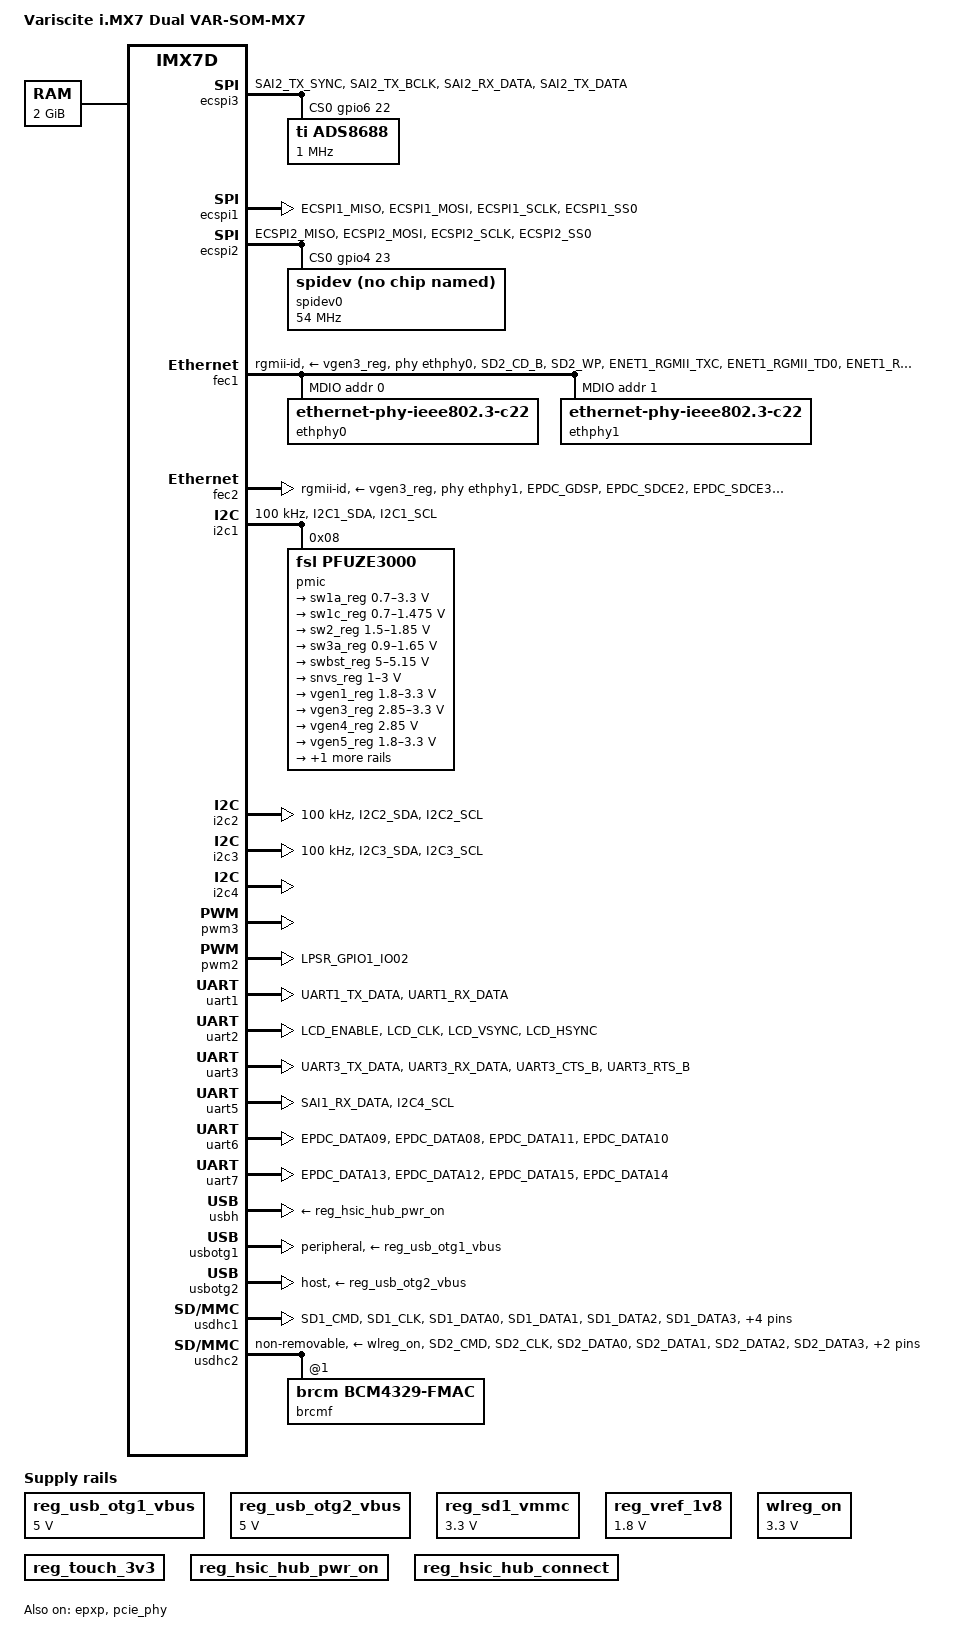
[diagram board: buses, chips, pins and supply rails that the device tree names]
/* MODIFIED BY SNORRI FOR THE KVIKNA AMPLIFIER ! ! ! !
 * Copyright (C) 2015 Freescale Semiconductor, Inc.
 * Copyright (C) 2016-2017 Variscite Ltd.
 *
 * This program is free software; you can redistribute it and/or modify
 * it under the terms of the GNU General Public License version 2 as
 * published by the Free Software Foundation.
 */
#include <dt-bindings/input/input.h>
#include <dt-bindings/leds/leds-pca9532.h>
#include "imx7d.dtsi"

/ {
	model = "Variscite i.MX7 Dual VAR-SOM-MX7";
	compatible = "variscite,imx7d-var-som", "fsl,imx7d";

	cpus {
		cpu0: cpu@0 {
			operating-points = <
				/* KHz	uV */
				996000	1075000
				792000	975000
			>;
		};
	};

	memory {
		reg = <0x80000000 0x80000000>;
	};

	pxp_v4l2_out {
		compatible = "fsl,imx7d-pxp-v4l2", "fsl,imx6sx-pxp-v4l2", "fsl,imx6sl-pxp-v4l2";
		status = "okay";
	};

	// Control Module LEDs
	// i2c_gpio: i2c-gpio {
	// 	compatible = "i2c-gpio";
	// 	pinctrl-names = "default";
	// 	pinctrl-0 = <&pinctrl_i2c_gpio>;
	// 	gpios = <
	// 		   &gpio1 2 GPIO_ACTIVE_HIGH /* SDA */
	// 		   &gpio6 17 GPIO_ACTIVE_HIGH /* SCL */
	// 	>;
	// 	clock-frequency = <100000>;
	// 	status = "okay";

	// 	leds: pca9530@60 { /* NOTE - the pca9532 device driver has been hard coded to turn on the power led when the probe function is called */
	// 		compatible = "nxp,pca9531";
	// 		reg = <0x60>;
	// 		green-power {
	// 			label = "pca:green:power";
	// 			type = <PCA9532_TYPE_LED>;
	// 		};
	// 	};
	// };

	regulators {
		compatible = "simple-bus";
		#address-cells = <1>;
		#size-cells = <0>;

		reg_usb_otg1_vbus: regulator@0 {
			compatible = "regulator-fixed";
			reg = <0>;
			regulator-name = "usb_otg1_vbus";
			regulator-min-microvolt = <5000000>;
			regulator-max-microvolt = <5000000>;
			//gpio = <&gpio1 5 GPIO_ACTIVE_HIGH>;
			//enable-active-high;
		};

		reg_usb_otg2_vbus: regulator@1 {
			compatible = "regulator-fixed";
			reg = <1>;
			regulator-name = "usb_otg2_vbus";
			regulator-min-microvolt = <5000000>;
			regulator-max-microvolt = <5000000>;
			//gpio = <&gpio1 7 GPIO_ACTIVE_HIGH>;
			//enable-active-high;
		};

		reg_sd1_vmmc: regulator@3 {
			compatible = "regulator-fixed";
			regulator-name = "VDD_SD1";
			regulator-min-microvolt = <3300000>;
			regulator-max-microvolt = <3300000>;
			//gpio = <&gpio5 2 GPIO_ACTIVE_HIGH>;
			//startup-delay-us = <200000>;
			enable-active-high;
		};

		reg_vref_1v8: regulator@5 {
			compatible = "regulator-fixed";
			reg = <5>;
			regulator-name = "vref-1v8";
			regulator-min-microvolt = <1800000>;
			regulator-max-microvolt = <1800000>;
		};

		wlreg_on: fixedregulator@100 {
			compatible = "regulator-fixed";
			regulator-min-microvolt = <3300000>;
			regulator-max-microvolt = <3300000>;
			regulator-name = "wlreg_on";
		};

		reg_touch_3v3: reg_touch_3v3 {
			compatible = "regulator-fixed";
			regulator-name = "touch_3v3_supply";
			regulator-always-on;
			status = "okay";
		};

		reg_hsic_hub_pwr_on: reg_hsic_hub_pwr_on {
			compatible = "regulator-fixed";
			regulator-name = "hsic_hub_pwr_on";
			//gpio = <&gpio1 10 GPIO_ACTIVE_HIGH>;
			//enable-active-high;
			regulator-always-on;
			status = "okay";
		};

		reg_hsic_hub_connect: reg_hsic_hub_connect {
			compatible = "regulator-fixed";
			regulator-name = "reg_hsic_hub_connect";
			//gpio = <&gpio1 12 GPIO_ACTIVE_HIGH>;
			//enable-active-high;
			regulator-always-on;
			status = "okay";
		};
	};
};

&adc1 {
	status = "disabled";
};

&adc2 {
	vref-supply = <&reg_vref_1v8>;
	status = "disabled";
};

&cpu0 {
	arm-supply = <&sw1a_reg>;
};

&clks {
	assigned-clocks = <&clks IMX7D_PLL_AUDIO_POST_DIV>;
	assigned-clock-rates = <884736000>;
};

&csi1 {
	status = "disabled";
};

&epxp {
	status = "okay";
};

&ecspi3 {
	fsl,spi-num-chipselects = <1>;
	pinctrl-names = "default", "sleep";
	pinctrl-0 = <&pinctrl_ecspi3>;
	cs-gpios = <&gpio6 22 0>;
	status = "okay";

	/* ADS8688 A/D-converter */
	ads8688@0 {
			compatible = "ti,ads8688";
			reg = <0>;
			spi-max-frequency = <1000000>;
	};
};

&ecspi1 {
	fsl,spi-num-chipselects = <1>;
	pinctrl-names = "default", "sleep";
	pinctrl-0 = <&pinctrl_ecspi1>;
	pinctrl-1 = <&pinctrl_ecspi1_sleep>;
	cs-gpios = <&gpio4 19 0>;
	status = "okay";

};

&ecspi2 {
	fsl,spi-num-chipselects = <1>;
	pinctrl-names = "default", "sleep";
	pinctrl-0 = <&pinctrl_ecspi2>;
	cs-gpios = <&gpio4 23 0>;
	status = "okay";

	spidev0: spi@0 {
		compatible = "var,spidev";
		reg = <0>;
		spi-max-frequency = <54000000>;
	};
};

&fec1 {
	pinctrl-names = "default","sleep";
	pinctrl-0 = <&pinctrl_enet1>;
	pinctrl-1 = <&pinctrl_enet1_sleep>;
	phy-supply=<&vgen3_reg>;
	assigned-clocks = <&clks IMX7D_ENET_PHY_REF_ROOT_SRC>,
			  <&clks IMX7D_ENET_AXI_ROOT_SRC>,
			  <&clks IMX7D_ENET1_TIME_ROOT_SRC>,
			  <&clks IMX7D_ENET1_TIME_ROOT_CLK>,
			  <&clks IMX7D_ENET_AXI_ROOT_CLK>;
	assigned-clock-parents = <&clks IMX7D_PLL_ENET_MAIN_25M_CLK>,
				 <&clks IMX7D_PLL_ENET_MAIN_250M_CLK>,
				 <&clks IMX7D_PLL_ENET_MAIN_100M_CLK>;
	assigned-clock-rates = <0>, <0>, <0>, <100000000>, <250000000>;
	phy-mode = "rgmii-id";
	phy-handle = <&ethphy0>;
	phy-reset-gpios = <&gpio5 11 GPIO_ACTIVE_LOW>;
	phy-reset-on-resume;
	status = "okay";

	mdio {
		#address-cells = <1>;
		#size-cells = <0>;

		ethphy0: ethernet-phy@0 {
			compatible = "ethernet-phy-ieee802.3-c22";
			reg = <0>;
		};

		ethphy1: ethernet-phy@1 {
			compatible = "ethernet-phy-ieee802.3-c22";
			reg = <1>;
		};
	};
};

&fec2 {
	pinctrl-names = "default","sleep";
	pinctrl-0 = <&pinctrl_enet2>;
	pinctrl-1 = <&pinctrl_enet2_sleep>;
	phy-supply=<&vgen3_reg>;
	assigned-clocks = <&clks IMX7D_ENET_PHY_REF_ROOT_SRC>,
			  <&clks IMX7D_ENET_AXI_ROOT_SRC>,
			  <&clks IMX7D_ENET2_TIME_ROOT_SRC>,
			  <&clks IMX7D_ENET2_TIME_ROOT_CLK>,
			  <&clks IMX7D_ENET_AXI_ROOT_CLK>;
	assigned-clock-parents = <&clks IMX7D_PLL_ENET_MAIN_25M_CLK>,
				 <&clks IMX7D_PLL_ENET_MAIN_250M_CLK>,
				 <&clks IMX7D_PLL_ENET_MAIN_100M_CLK>;
	assigned-clock-rates = <0>, <0>, <0>, <100000000>, <250000000>;
	phy-mode = "rgmii-id";
	phy-handle = <&ethphy1>;
	phy-reset-gpios = <&gpio4 3 GPIO_ACTIVE_LOW>;
	phy-reset-on-resume;
	status = "okay";
};

&mipi_csi {
	status = "disabled";
};

&flexcan2 {
	status = "disabled";
};

&i2c1 {
	clock-frequency = <100000>;
	pinctrl-names = "default", "gpio";
	pinctrl-0 = <&pinctrl_i2c1>;
	// Note - the following 3 lines are new in V5.4 - don't know if we need to remove them or not - Snorri
	// pinctrl-1 = <&pinctrl_i2c1_gpio>;
	// scl-gpios = <&gpio4 8 GPIO_ACTIVE_HIGH>;
	// sda-gpios = <&gpio4 9 GPIO_ACTIVE_HIGH>;
	status = "okay";

	pmic: pfuze3000@8 {
		compatible = "fsl,pfuze3000";
		reg = <0x08>;

		regulators {
			sw1a_reg: sw1a {
				regulator-min-microvolt = <700000>;
				regulator-max-microvolt = <3300000>;
				regulator-boot-on;
				regulator-always-on;
				regulator-ramp-delay = <6250>;
			};

			/* use sw1c_reg to align with pfuze100/pfuze200 */
			sw1c_reg: sw1b {
				regulator-min-microvolt = <700000>;
				regulator-max-microvolt = <1475000>;
				regulator-boot-on;
				regulator-always-on;
				regulator-ramp-delay = <6250>;
			};

			sw2_reg: sw2 {
				regulator-min-microvolt = <1500000>;
				regulator-max-microvolt = <1850000>;
				regulator-boot-on;
				regulator-always-on;
			};

			sw3a_reg: sw3 {
				regulator-min-microvolt = <900000>;
				regulator-max-microvolt = <1650000>;
				regulator-boot-on;
				regulator-always-on;
			};

			swbst_reg: swbst {
				regulator-min-microvolt = <5000000>;
				regulator-max-microvolt = <5150000>;
			};

			snvs_reg: vsnvs {
				regulator-min-microvolt = <1000000>;
				regulator-max-microvolt = <3000000>;
				regulator-boot-on;
				regulator-always-on;
			};

			vref_reg: vrefddr {
				regulator-boot-on;
				regulator-always-on;
			};

			vgen1_reg: vldo1 {
				regulator-min-microvolt = <1800000>;
				regulator-max-microvolt = <3300000>;
				regulator-always-on;
			};

			vgen2_reg: vldo2 {
				status = "disabled";
			};

			vgen3_reg: vccsd {
				regulator-min-microvolt = <2850000>;
				regulator-max-microvolt = <3300000>;
				regulator-boot-on;

				regulator-state-mem {
					regulator-off-in-suspend;
				};
			};

			vgen4_reg: v33 {
				regulator-min-microvolt = <2850000>;
				regulator-max-microvolt = <2850000>;
				regulator-always-on;
			};

			vgen5_reg: vldo3 {
				regulator-min-microvolt = <1800000>;
				regulator-max-microvolt = <3300000>;
				regulator-always-on;
			};

			vgen6_reg: vldo4 {
				regulator-min-microvolt = <1800000>;
	 			regulator-max-microvolt = <3300000>;
				regulator-always-on;
			};
		};
	};
};

&i2c2 {
	clock-frequency = <100000>;
	pinctrl-names = "default", "gpio";
	pinctrl-0 = <&pinctrl_i2c2>;
	// Note - the following 3 lines are new in V5.4 - don't know if we need to remove them or not - Snorri
	// pinctrl-1 = <&pinctrl_i2c2_gpio>;
	// scl-gpios = <&gpio4 10 GPIO_ACTIVE_HIGH>;
	// sda-gpios = <&gpio4 11 GPIO_ACTIVE_HIGH>;
	status = "okay";

	// wm8731: wm8731@1a {
	// 	#sound-dai-cells = <0>;
	// 	AVDD-supply = <&vgen6_reg>;
	// 	compatible = "wlf,wm8731";
	// 	reg = <0x1a>;
	// 	clocks = <&clks IMX7D_AUDIO_MCLK_ROOT_CLK>;
	// 	clock-names = "mclk";
	// 	status = "okay";
	// };

	/* DS1337 RTC module */
	// rtc@68 {
	// 	compatible = "dallas,ds1337";
	// 	reg = <0x68>;
	// };

	// ov5640_mipi: ov5640_mipi@3c {
	// 	compatible = "ovti,ov5640_mipi";
	// 	reg = <0x3c>;
	// 	clocks = <&clks IMX7D_CLKO2_ROOT_CG>;
	// 	clock-names = "csi_mclk";
	// 	csi_id = <0>;
	// 	AVDD-supply = <&vgen6_reg>;
	// 	mclk = <24000000>;
	// 	mclk_source = <0>;
	// 	uyvy-fmt;
	// 	port {
	// 		ov5640_mipi_ep: endpoint {
	// 			remote-endpoint = <&mipi_sensor_ep>;
	// 		};
	// 	};
	// };
};

&i2c3 {
	clock-frequency = <100000>;
	pinctrl-names = "default";
	pinctrl-0 = <&pinctrl_i2c3>;
	pinctrl-1 = <&pinctrl_i2c3_gpio>;
	status = "okay";
};

&i2c4 {
	// clock-frequency = <100000>;
	// pinctrl-names = "default", "gpio";
	// pinctrl-0 = <&pinctrl_i2c4>;
	// pinctrl-1 = <&pinctrl_i2c4_gpio>;
	// scl-gpios = <&gpio4 14 GPIO_ACTIVE_HIGH>;
	// sda-gpios = <&gpio4 15 GPIO_ACTIVE_HIGH>;
	status = "okay";

	// ft5x06_ts@38 {
	// 	compatible = "edt,edt-ft5x06";
	// 	reg = <0x38>;
	// 	interrupt-parent = <&gpio2>;
	// 	interrupts = <30 0>;
	// 	touchscreen-size-x = <800>;
	// 	touchscreen-size-y = <480>;
	// 	touchscreen-inverted-x;
	// 	touchscreen-inverted-y;
	// };
};

&gpmi {
	status = "disabled";
};

&pwm3 {
	pinctrl-names = "default";
	pinctrl-1 = <&pinctrl_pwm3>;
	status = "okay";
};

&iomuxc {
	pinctrl-names = "default", "sleep";
	pinctrl-0 = <&pinctrl_hog_1>;
	// Commented out following line from V5.4
	//pinctrl-1 = <&pinctrl_hog_1_sleep>;

	imx7d-sdb {
		pinctrl_hog_1: hoggrp-1 {
			fsl,pins = <
				// Commented out following lines from V5.4
				// MX7D_PAD_GPIO1_IO14__GPIO1_IO14		0x80000000  /* bt reg on */
				// MX7D_PAD_EPDC_PWR_COM__GPIO2_IO30	0x80000000  /* capacitive touch irq */
				// MX7D_PAD_SD2_RESET_B__GPIO5_IO11	0x59  /* ethphy0 reset */
				// MX7D_PAD_UART2_TX_DATA__GPIO4_IO3	0x59  /* ethphy1 reset */
				// MX7D_PAD_GPIO1_IO10__GPIO1_IO10		0x59  /* hsic hub reset */
				// MX7D_PAD_GPIO1_IO12__GPIO1_IO12		0x59  /* hsic hub connect */
				// MX7D_PAD_GPIO1_IO13__GPIO1_IO13		0x59  /* LED */
				// MX7D_PAD_SD1_WP__CCM_CLKO2		0xb0  /* camera clock */

				MX7D_PAD_GPIO1_IO14__GPIO1_IO14     0x80000000  /* bt reg on */
				MX7D_PAD_SD2_RESET_B__GPIO5_IO11    0x59  /* ethphy0 reset */
				MX7D_PAD_GPIO1_IO12__GPIO1_IO12		0x59  /* GAUGE_GPOUT */
				MX7D_PAD_SAI1_RX_BCLK__GPIO6_IO17 0x4000007f  /* SCL */
				// MX7D_PAD_LPSR_GPIO1_IO05__GPIO1_IO5         0x59  /* CHARGER_PG input */
				// MX7D_PAD_LPSR_GPIO1_IO07__GPIO1_IO7          0x59  /* CHARGER_STAT input */
				/* 31438-2 I/O */
				MX7D_PAD_LCD_DATA01__GPIO3_IO6          0x59  /* V_POE_VALID_n input */
				MX7D_PAD_EPDC_DATA07__GPIO2_IO7         0x14  /* TTL_OUT output */
				MX7D_PAD_EPDC_DATA06__GPIO2_IO6         0x59  /* TTL_IN input */
				MX7D_PAD_EPDC_BDR0__GPIO2_IO28          0x14  /* PHOTIC_TRIG output */
				MX7D_PAD_EPDC_BDR1__GPIO2_IO29          0x59  /* PHOTIC_TRIGGED input */
				MX7D_PAD_SD1_WP__GPIO5_IO1              0x59  /* CHARGER_IRQ input */
				MX7D_PAD_I2C4_SDA__GPIO4_IO15           0x14  /* CHARGER_CE output */
				MX7D_PAD_GPIO1_IO12__GPIO1_IO12         0x59  /* GAUGE_GPOUT input */
				MX7D_PAD_GPIO1_IO11__GPIO1_IO11         0x14  /* CHARGER_QON output */
				//MX7D_PAD_GPIO1_IO10__GPIO1_IO10         0x14  /* LED_RST_n */
				MX7D_PAD_LCD_DATA22__GPIO3_IO27         0x59  /* V_EXT_VALID_n input*/
				MX7D_PAD_EPDC_DATA01__GPIO2_IO1         0x14  /* FPGA_USB_RST_n output */
				MX7D_PAD_EPDC_DATA04__GPIO2_IO4         0x14  /* ADC_PD_n output */
				MX7D_PAD_LCD_DATA23__GPIO3_IO28         0x59  /* V_USB_VALID_n input */
				MX7D_PAD_EPDC_DATA03__GPIO2_IO3         0x14  /* V_ISO_EN output */
				MX7D_PAD_EPDC_DATA02__GPIO2_IO2         0x14  /* FPGA_USB_SUSPEND_n output */
				MX7D_PAD_EPDC_DATA00__GPIO2_IO0         0x14  /* FPGA_RESET_n output */
				MX7D_PAD_EPDC_DATA05__GPIO2_IO5         0x59  /* PB_IN input */
				MX7D_PAD_LCD_DATA21__GPIO3_IO26         0x59  /* BRACKET_n input */
				MX7D_PAD_LCD_DATA20__GPIO3_IO25         0x59  /* SRESET_n input */
				MX7D_PAD_EPDC_PWR_COM__GPIO2_IO30       0x59  /* DBG_IO_5 */
				MX7D_PAD_EPDC_PWR_STAT__GPIO2_IO31      0x59  /* DBG_IO_6 */
			>;
		};

		pinctrl_pwm3: pwm3grp {
			fsl,pins = <
				MX7D_PAD_GPIO1_IO10__PWM3_OUT           0x30  /* Trigger output */
			>;
		};

		// Commented out following lines from V5.4
		// pinctrl_hog_1_sleep: hoggrp-1sleep {
		// 	fsl,pins = <
		// 		MX7D_PAD_GPIO1_IO14__GPIO1_IO14		0x10  /* bt reg on */
		// 		MX7D_PAD_EPDC_PWR_COM__GPIO2_IO30	0x10  /* capacitive touch irq */
		// 		MX7D_PAD_SD2_RESET_B__ECSPI3_RDY	0x10  /* ethphy0 reset */
		// 		MX7D_PAD_UART2_TX_DATA__I2C2_SDA	0x10  /* ethphy1 reset */
		// 		MX7D_PAD_GPIO1_IO10__GPIO1_IO10		0x10  /* hsic hub reset */
		// 		MX7D_PAD_GPIO1_IO12__GPIO1_IO12		0x10  /* hsic hub connect */
		// 		MX7D_PAD_GPIO1_IO13__GPIO1_IO13		0x10  /* LED */
		// 		MX7D_PAD_SD1_WP__GPIO5_IO1		0x10  /* camera clock */
		// 	>;
		// };

		// Commented out following lines from V5.4
		// pinctrl_gpio_keys: gpio_keysgrp {
		// 	fsl,pins = <
		// 		MX7D_PAD_EPDC_BDR0__GPIO2_IO28		0x32
		// 		MX7D_PAD_EPDC_BDR1__GPIO2_IO29		0x32
		// 		MX7D_PAD_GPIO1_IO11__GPIO1_IO11		0x32
		// 	>;
		// };

		pinctrl_pcie: pciegrp {
			fsl,pins = <
				MX7D_PAD_EPDC_PWR_STAT__GPIO2_IO31	0x79 /* pcie reset */
			>;
		};

		// Following lines are from old V4.9 file - included here for completeness sake
		// pinctrl_mipi_dsi_reset: mipi_dsi_reset_grp {
		// 	fsl,pins = <
		// 		MX7D_PAD_SAI1_TX_DATA__GPIO6_IO15   0x1b
		// 	>;
		// };

		pinctrl_ecspi1: ecspi1grp {
			fsl,pins = <
				MX7D_PAD_ECSPI1_MISO__ECSPI1_MISO	0x2
				MX7D_PAD_ECSPI1_MOSI__ECSPI1_MOSI	0x2
				MX7D_PAD_ECSPI1_SCLK__ECSPI1_SCLK	0x2
				MX7D_PAD_ECSPI1_SS0__GPIO4_IO19		0x2
			>;
		};

		// Note - the pin value was 0x14 in the old v4.9 file for the following group
		pinctrl_ecspi1_sleep: ecspi1grp_sleep {
			fsl,pins = <
				MX7D_PAD_ECSPI1_MISO__GPIO4_IO18	0x10
				MX7D_PAD_ECSPI1_MOSI__GPIO4_IO17	0x10
				MX7D_PAD_ECSPI1_SCLK__GPIO4_IO16	0x10
				MX7D_PAD_ECSPI1_SS0__DISABLED		0x10
			>;
		};

		pinctrl_ecspi2: ecspi2grp {
			fsl,pins = <
				MX7D_PAD_ECSPI2_MISO__ECSPI2_MISO	0x2
				MX7D_PAD_ECSPI2_MOSI__ECSPI2_MOSI	0x2
				MX7D_PAD_ECSPI2_SCLK__ECSPI2_SCLK	0x2
				MX7D_PAD_ECSPI2_SS0__GPIO4_IO23		0x2
			>;
		};

		/* 31438 ADC SPI interface */
		pinctrl_ecspi3: ecspi3grp {
			fsl,pins = <
				MX7D_PAD_SAI2_TX_SYNC__ECSPI3_MISO      0x2  /* ADC_SDO */
				MX7D_PAD_SAI2_TX_BCLK__ECSPI3_MOSI      0x2  /* ADC_SDI */
				MX7D_PAD_SAI2_RX_DATA__ECSPI3_SCLK      0x2  /* ADC_SCLK */
				MX7D_PAD_SAI2_TX_DATA__GPIO6_IO22       0x2  /* ADC_CS_n */
			>;
		};

		pinctrl_enet1: enet1grp {
			fsl,pins = <
				MX7D_PAD_SD2_CD_B__ENET1_MDIO			0x3
				MX7D_PAD_SD2_WP__ENET1_MDC			0x3
				MX7D_PAD_ENET1_RGMII_TXC__ENET1_RGMII_TXC	0x1
				MX7D_PAD_ENET1_RGMII_TD0__ENET1_RGMII_TD0	0x1
				MX7D_PAD_ENET1_RGMII_TD1__ENET1_RGMII_TD1	0x1
				MX7D_PAD_ENET1_RGMII_TD2__ENET1_RGMII_TD2	0x1
				MX7D_PAD_ENET1_RGMII_TD3__ENET1_RGMII_TD3	0x1
				MX7D_PAD_ENET1_RGMII_TX_CTL__ENET1_RGMII_TX_CTL	0x1
				MX7D_PAD_ENET1_RGMII_RXC__ENET1_RGMII_RXC	0x1
				MX7D_PAD_ENET1_RGMII_RD0__ENET1_RGMII_RD0	0x1
				MX7D_PAD_ENET1_RGMII_RD1__ENET1_RGMII_RD1	0x1
				MX7D_PAD_ENET1_RGMII_RD2__ENET1_RGMII_RD2	0x1
				MX7D_PAD_ENET1_RGMII_RD3__ENET1_RGMII_RD3	0x1
				MX7D_PAD_ENET1_RGMII_RX_CTL__ENET1_RGMII_RX_CTL	0x1
			>;
		};

		pinctrl_enet1_sleep: enet1_sleep_grp {
			fsl,pins = <
				MX7D_PAD_SD2_CD_B__GPIO5_IO9			0x10
				MX7D_PAD_SD2_WP__GPIO5_IO10			0x10
				MX7D_PAD_ENET1_RGMII_TXC__GPIO7_IO11		0x10
				MX7D_PAD_ENET1_RGMII_TD0__GPIO7_IO6		0x10
				MX7D_PAD_ENET1_RGMII_TD1__GPIO7_IO7		0x10
				MX7D_PAD_ENET1_RGMII_TD2__GPIO7_IO8		0x10
				MX7D_PAD_ENET1_RGMII_TD3__GPIO7_IO9		0x10
				MX7D_PAD_ENET1_RGMII_TX_CTL__GPIO7_IO10		0x10
				MX7D_PAD_ENET1_RGMII_RXC__GPIO7_IO5		0x10
				MX7D_PAD_ENET1_RGMII_RD0__GPIO7_IO0		0x10
				MX7D_PAD_ENET1_RGMII_RD1__GPIO7_IO1		0x10
				MX7D_PAD_ENET1_RGMII_RD2__GPIO7_IO2		0x10
				MX7D_PAD_ENET1_RGMII_RD3__GPIO7_IO3		0x10
				MX7D_PAD_ENET1_RGMII_RX_CTL__GPIO7_IO4		0x10
			>;
		};

		pinctrl_enet2: enet2grp {
			fsl,pins = <
				MX7D_PAD_EPDC_GDSP__ENET2_RGMII_TXC		0x1
				MX7D_PAD_EPDC_SDCE2__ENET2_RGMII_TD0		0x1
				MX7D_PAD_EPDC_SDCE3__ENET2_RGMII_TD1		0x1
				MX7D_PAD_EPDC_GDCLK__ENET2_RGMII_TD2		0x1
				MX7D_PAD_EPDC_GDOE__ENET2_RGMII_TD3		0x1
				MX7D_PAD_EPDC_GDRL__ENET2_RGMII_TX_CTL		0x1
				MX7D_PAD_EPDC_SDCE1__ENET2_RGMII_RXC		0x1
				MX7D_PAD_EPDC_SDCLK__ENET2_RGMII_RD0		0x1
				MX7D_PAD_EPDC_SDLE__ENET2_RGMII_RD1		0x1
				MX7D_PAD_EPDC_SDOE__ENET2_RGMII_RD2		0x1
				MX7D_PAD_EPDC_SDSHR__ENET2_RGMII_RD3		0x1
				MX7D_PAD_EPDC_SDCE0__ENET2_RGMII_RX_CTL		0x1
			>;
		};

		pinctrl_enet2_sleep: enet2_sleep_grp {
			fsl,pins = <
				MX7D_PAD_EPDC_GDSP__GPIO2_IO27			0x10
				MX7D_PAD_EPDC_SDCE2__GPIO2_IO22			0x10
				MX7D_PAD_EPDC_SDCE3__GPIO2_IO23			0x10
				MX7D_PAD_EPDC_GDCLK__GPIO2_IO24			0x10
				MX7D_PAD_EPDC_GDOE__GPIO2_IO25			0x10
				MX7D_PAD_EPDC_GDRL__GPIO2_IO26			0x10
				MX7D_PAD_EPDC_SDCE1__GPIO2_IO21			0x10
				MX7D_PAD_EPDC_SDCLK__GPIO2_IO16			0x10
				MX7D_PAD_EPDC_SDLE__GPIO2_IO17			0x10
				MX7D_PAD_EPDC_SDOE__GPIO2_IO18			0x10
				MX7D_PAD_EPDC_SDSHR__GPIO2_IO19			0x10
				MX7D_PAD_EPDC_SDCE0__GPIO2_IO20			0x10
			>;
		};

		// Commented out following lines from V5.4
		// pinctrl_flexcan2: flexcan2grp {
		// 	fsl,pins = <
		// 		MX7D_PAD_I2C3_SCL__FLEXCAN2_RX		0x59
		// 		MX7D_PAD_I2C3_SDA__FLEXCAN2_TX		0x59
		// 	>;
		// };

		pinctrl_i2c1: i2c1grp {
			fsl,pins = <
				MX7D_PAD_I2C1_SDA__I2C1_SDA	0x4000007f
				MX7D_PAD_I2C1_SCL__I2C1_SCL	0x4000007f
			>;
		};

		// Commented out following lines from V5.4
		// pinctrl_i2c1_gpio: i2c1gpiogrp {
		// 	fsl,pins = <
		// 		MX7D_PAD_I2C1_SDA__GPIO4_IO9	0x4000007f
		// 		MX7D_PAD_I2C1_SCL__GPIO4_IO8	0x4000007f
		// 	>;
		// };

		pinctrl_i2c2: i2c2grp {
			fsl,pins = <
				MX7D_PAD_I2C2_SDA__I2C2_SDA	0x4000007f
				MX7D_PAD_I2C2_SCL__I2C2_SCL	0x4000007f
			>;
		};

		// Commented out following lines from V5.4
		// pinctrl_i2c2_gpio: i2c2gpiogrp {
		// 	fsl,pins = <
		// 		MX7D_PAD_I2C2_SDA__GPIO4_IO11	0x4000007f
		// 		MX7D_PAD_I2C2_SCL__GPIO4_IO10	0x4000007f
		// 	>;
		// };

		/* Battery charger + gauge */
		pinctrl_i2c3: i2c3grp {
			fsl,pins = <
				MX7D_PAD_I2C3_SDA__I2C3_SDA     0x4000003f  /* 5k pull-up */
				MX7D_PAD_I2C3_SCL__I2C3_SCL     0x4000003f  /* 5k pull-up */
			>;
		};
		
		pinctrl_i2c3_gpio: i2c3gpiogrp {
			fsl,pins = <
				MX7D_PAD_I2C3_SDA__GPIO4_IO13   0x4000007f
				MX7D_PAD_I2C3_SCL__GPIO4_IO12   0x4000007f
			>;
		};

		// Commented out following lines from V5.4
		// pinctrl_i2c4: i2c4grp {
		// 	fsl,pins = <
		// 		MX7D_PAD_I2C4_SDA__I2C4_SDA	0x4000007f
		// 		MX7D_PAD_I2C4_SCL__I2C4_SCL	0x4000007f
		// 	>;
		// };

		// Commented out following lines from V5.4
		// pinctrl_i2c4_gpio: i2c4gpiogrp {
		// 	fsl,pins = <
		// 		MX7D_PAD_I2C4_SDA__GPIO4_IO15	0x4000007f
		// 		MX7D_PAD_I2C4_SCL__GPIO4_IO14	0x4000007f
		// 	>;
		// };

		// Commented out following lines from V5.4
		// pinctrl_lcdif_dat: lcdifdatgrp {
		// 	fsl,pins = <
		// 		MX7D_PAD_LCD_DATA00__GPIO3_IO5		0x79
		// 		MX7D_PAD_LCD_DATA02__LCD_DATA2		0x79
		// 		MX7D_PAD_LCD_DATA03__LCD_DATA3		0x79
		// 		MX7D_PAD_EPDC_DATA04__LCD_DATA4		0x79
		// 		MX7D_PAD_EPDC_DATA05__LCD_DATA5		0x79
		// 		MX7D_PAD_EPDC_DATA06__LCD_DATA6		0x79
		// 		MX7D_PAD_EPDC_DATA07__LCD_DATA7		0x79
		// 		MX7D_PAD_EPDC_DATA10__LCD_DATA10	0x79
		// 		MX7D_PAD_EPDC_DATA11__LCD_DATA11	0x79
		// 		MX7D_PAD_EPDC_DATA12__LCD_DATA12	0x79
		// 		MX7D_PAD_EPDC_DATA13__LCD_DATA13	0x79
		// 		MX7D_PAD_EPDC_DATA14__LCD_DATA14	0x79
		// 		MX7D_PAD_EPDC_DATA15__LCD_DATA15	0x79
		// 		MX7D_PAD_LCD_DATA18__LCD_DATA18		0x79
		// 		MX7D_PAD_LCD_DATA19__LCD_DATA19		0x79
		// 		MX7D_PAD_LCD_DATA20__LCD_DATA20		0x79
		// 		MX7D_PAD_LCD_DATA21__LCD_DATA21		0x79
		// 		MX7D_PAD_LCD_DATA22__LCD_DATA22		0x79
		// 		MX7D_PAD_LCD_DATA23__LCD_DATA23		0x79
		// 	>;
		// };

		// Commented out following lines from V5.4
		// pinctrl_lcdif_ctrl: lcdifctrlgrp {
		// 	fsl,pins = <
		// 		MX7D_PAD_EPDC_DATA00__LCD_CLK		0x79
		// 		MX7D_PAD_EPDC_DATA02__LCD_VSYNC		0x79
		// 		MX7D_PAD_EPDC_DATA03__LCD_HSYNC		0x79
		// 		MX7D_PAD_EPDC_DATA01__LCD_ENABLE	0x79
		// 	>;
		// };

		// Commented out following lines from V5.4
		// pinctrl_sai1: sai1grp {
		// 	fsl,pins = <
		// 		MX7D_PAD_ENET1_RX_CLK__SAI1_TX_BCLK	0x1f
		// 		MX7D_PAD_ENET1_CRS__SAI1_TX_SYNC	0x1f
		// 		MX7D_PAD_ENET1_COL__SAI1_TX_DATA0	0x30
		// 		MX7D_PAD_ENET1_TX_CLK__SAI1_RX_DATA0	0x1f
		// 	>;
		// };

		// Commented out following lines from V5.4
		// pinctrl_sai1_sleep: sai1grp_sleep {
		// 	fsl,pins = <
		// 		MX7D_PAD_ENET1_RX_CLK__GPIO7_IO13	0x10
		// 		MX7D_PAD_ENET1_CRS__GPIO7_IO14		0x10
		// 		MX7D_PAD_ENET1_COL__GPIO7_IO15		0x10
		// 		MX7D_PAD_ENET1_TX_CLK__GPIO7_IO12	0x10
		// 	>;
		// };

		// Commented out following lines from V5.4
		// pinctrl_sai2: sai2grp {
		// 	fsl,pins = <
		// 		MX7D_PAD_SAI2_TX_BCLK__SAI2_TX_BCLK	0x1f
		// 		MX7D_PAD_SAI2_TX_SYNC__SAI2_TX_SYNC	0x1f
		// 		MX7D_PAD_SAI2_TX_DATA__SAI2_TX_DATA0	0x30
		// 		MX7D_PAD_SAI2_RX_DATA__SAI2_RX_DATA0	0x1f
		// 	>;
		// };

		// The following lines are from the old V4.9 file - included here for completeness sake.
		// pinctrl_tsc2046_pendown: tsc2046_pendown {
		// 	fsl,pins = <
		// 		MX7D_PAD_GPIO1_IO09__GPIO1_IO9      0x59
		// 	>;
		// };

		pinctrl_ads7846_pendown: ads7846pendowngrp {
			fsl,pins = <
				MX7D_PAD_GPIO1_IO09__GPIO1_IO9		0x59
			>;
		};

		pinctrl_uart1: uart1grp {
			fsl,pins = <
				MX7D_PAD_UART1_TX_DATA__UART1_DCE_TX	0x79
				MX7D_PAD_UART1_RX_DATA__UART1_DCE_RX	0x79
			>;
		};

		pinctrl_uart1_sleep: uart1sleep_grp {
			fsl,pins = <
				MX7D_PAD_UART1_TX_DATA__GPIO4_IO1	0x10
				MX7D_PAD_UART1_RX_DATA__GPIO4_IO0	0x10
			>;
		};

		pinctrl_uart2: uart2grp {
			fsl,pins = <
				MX7D_PAD_LCD_ENABLE__UART2_DCE_TX	0x79
				MX7D_PAD_LCD_CLK__UART2_DCE_RX		0x79
				MX7D_PAD_LCD_VSYNC__UART2_DCE_CTS	0x79
				MX7D_PAD_LCD_HSYNC__UART2_DCE_RTS	0x79
			>;
		};

		pinctrl_uart3: uart3grp {
			fsl,pins = <
				MX7D_PAD_UART3_TX_DATA__UART3_DCE_TX	0x79
				MX7D_PAD_UART3_RX_DATA__UART3_DCE_RX	0x79
				MX7D_PAD_UART3_CTS_B__UART3_DCE_CTS	0x79
				MX7D_PAD_UART3_RTS_B__UART3_DCE_RTS	0x79
			>;
		};

		/* 31438 XPOD interface */
		pinctrl_uart5: uart5grp {
			fsl,pins = <
				MX7D_PAD_SAI1_RX_DATA__UART5_DTE_TX	0x79
				MX7D_PAD_I2C4_SCL__UART5_DCE_RX		0x79
			>;
		};

		pinctrl_uart6: uart6grp {
				fsl,pins = <
						MX7D_PAD_EPDC_DATA09__UART6_DCE_TX      0x79
						MX7D_PAD_EPDC_DATA08__UART6_DCE_RX      0x79
						MX7D_PAD_EPDC_DATA11__UART6_DCE_CTS     0x79
						MX7D_PAD_EPDC_DATA10__UART6_DCE_RTS     0x79
				>;
		};

		pinctrl_uart7: uart7grp {
				fsl,pins = <
						MX7D_PAD_EPDC_DATA13__UART7_DCE_TX      0x79
						MX7D_PAD_EPDC_DATA12__UART7_DCE_RX      0x79
						MX7D_PAD_EPDC_DATA15__UART7_DCE_CTS     0x79
						MX7D_PAD_EPDC_DATA14__UART7_DCE_RTS     0x79
				>;
		};

		pinctrl_usdhc1_gpio: usdhc1_gpiogrp {
			fsl,pins = <
				MX7D_PAD_SD1_CD_B__GPIO5_IO0		0x59 /* CD */
				MX7D_PAD_SD1_RESET_B__GPIO5_IO2		0x59 /* vmmc */
				MX7D_PAD_GPIO1_IO08__SD1_VSELECT	0x59 /* VSELECT */
			>;
		};

		pinctrl_usdhc1: usdhc1grp {
			fsl,pins = <
				MX7D_PAD_SD1_CMD__SD1_CMD		0x59
				MX7D_PAD_SD1_CLK__SD1_CLK		0x19
				MX7D_PAD_SD1_DATA0__SD1_DATA0		0x59
				MX7D_PAD_SD1_DATA1__SD1_DATA1		0x59
				MX7D_PAD_SD1_DATA2__SD1_DATA2		0x59
				MX7D_PAD_SD1_DATA3__SD1_DATA3		0x59
			>;
		};

		pinctrl_usdhc1_100mhz: usdhc1grp_100mhz {
			fsl,pins = <
				MX7D_PAD_SD1_CMD__SD1_CMD		0x5a
				MX7D_PAD_SD1_CLK__SD1_CLK		0x1a
				MX7D_PAD_SD1_DATA0__SD1_DATA0		0x5a
				MX7D_PAD_SD1_DATA1__SD1_DATA1		0x5a
				MX7D_PAD_SD1_DATA2__SD1_DATA2		0x5a
				MX7D_PAD_SD1_DATA3__SD1_DATA3		0x5a
			>;
		};

		pinctrl_usdhc1_200mhz: usdhc1grp_200mhz {
			fsl,pins = <
				MX7D_PAD_SD1_CMD__SD1_CMD		0x5b
				MX7D_PAD_SD1_CLK__SD1_CLK		0x1b
				MX7D_PAD_SD1_DATA0__SD1_DATA0		0x5b
				MX7D_PAD_SD1_DATA1__SD1_DATA1		0x5b
				MX7D_PAD_SD1_DATA2__SD1_DATA2		0x5b
				MX7D_PAD_SD1_DATA3__SD1_DATA3		0x5b
			>;
		};

		// Note - the pin value is 0x14 in the old v4.9 file for the following group.
		pinctrl_usdhc2_sleep: usdhc2grp_sleep {
			fsl,pins = <
				MX7D_PAD_SD2_CMD__GPIO5_IO13		0x10
				MX7D_PAD_SD2_CLK__GPIO5_IO12		0x10
				MX7D_PAD_SD2_DATA0__GPIO5_IO14		0x10
				MX7D_PAD_SD2_DATA1__GPIO5_IO15		0x10
				MX7D_PAD_SD2_DATA2__GPIO5_IO16		0x10
				MX7D_PAD_SD2_DATA3__GPIO5_IO17		0x10
			>;
		};

		pinctrl_usdhc2: usdhc2grp {
			fsl,pins = <
				MX7D_PAD_SD2_CMD__SD2_CMD	0x59
				MX7D_PAD_SD2_CLK__SD2_CLK	0x19
				MX7D_PAD_SD2_DATA0__SD2_DATA0	0x59
				MX7D_PAD_SD2_DATA1__SD2_DATA1	0x59
				MX7D_PAD_SD2_DATA2__SD2_DATA2	0x59
				MX7D_PAD_SD2_DATA3__SD2_DATA3	0x59
			>;
		};

		pinctrl_usdhc2_100mhz: usdhc2grp_100mhz {
			fsl,pins = <
				MX7D_PAD_SD2_CMD__SD2_CMD	0x5a
				MX7D_PAD_SD2_CLK__SD2_CLK	0x1a
				MX7D_PAD_SD2_DATA0__SD2_DATA0	0x5a
				MX7D_PAD_SD2_DATA1__SD2_DATA1	0x5a
				MX7D_PAD_SD2_DATA2__SD2_DATA2	0x5a
				MX7D_PAD_SD2_DATA3__SD2_DATA3	0x5a
			>;
		};

		pinctrl_usdhc2_200mhz: usdhc2grp_200mhz {
			fsl,pins = <
				MX7D_PAD_SD2_CMD__SD2_CMD	0x5b
				MX7D_PAD_SD2_CLK__SD2_CLK	0x1b
				MX7D_PAD_SD2_DATA0__SD2_DATA0	0x5b
				MX7D_PAD_SD2_DATA1__SD2_DATA1	0x5b
				MX7D_PAD_SD2_DATA2__SD2_DATA2	0x5b
				MX7D_PAD_SD2_DATA3__SD2_DATA3	0x5b
			>;
		};
	};
};

&lcdif {
	status = "disabled";
	// pinctrl-names = "default";
	// pinctrl-0 = <&pinctrl_lcdif_dat
	// 	     &pinctrl_lcdif_ctrl>;
	// display = <&display0>;
	// status = "okay";

	// display0: display0 {
	// 	bits-per-pixel = <32>;
	// 	bus-width = <24>;

	// 	display-timings {
	// 		native-mode = <&timing0>;
	// 		timing0: timing0 {
	// 			clock-frequency = <29232000>;
	// 			hactive = <800>;
	// 			vactive = <480>;
	// 			hfront-porch = <40>;
	// 			hback-porch = <40>;
	// 			hsync-len = <48>;
	// 			vback-porch = <29>;
	// 			vfront-porch = <13>;
	// 			vsync-len = <3>;
	// 			hsync-active = <0>;
	// 			vsync-active = <0>;
	// 			de-active = <1>;
	// 			pixelclk-active = <0>;
	// 		};
	// 	};
	// };
};

// Note - the following lines are from v4.9 file (that don't exist in the v5.4 file)
// Don't know if we need this or not?
&pcie_phy {
	status = "okay";
};

&pcie {
	status = "disabled";
	// pinctrl-names = "default";
	// pinctrl-0 = <&pinctrl_pcie>;
	// reset-gpio = <&gpio2 31 GPIO_ACTIVE_LOW>;
	// status = "okay";
};

&sai1 {
	status = "disabled";
	// #sound-dai-cells = <1>;
	// pinctrl-names = "default", "sleep";
	// pinctrl-0 = <&pinctrl_sai1 &pinctrl_sai1_mclk>;
	// pinctrl-1 = <&pinctrl_sai1_sleep &pinctrl_sai1_mclk_sleep>;
	// assigned-clocks = <&clks IMX7D_SAI1_ROOT_SRC>,
	// 		  <&clks IMX7D_SAI1_ROOT_CLK>;
	// assigned-clock-parents = <&clks IMX7D_PLL_AUDIO_POST_DIV>;
	// assigned-clock-rates = <0>, <36864000>;
	// status = "okay";
};

&sai2 {
	status = "disabled";
	// pinctrl-names = "default";
	// pinctrl-0 = <&pinctrl_sai2>;
	// assigned-clocks = <&clks IMX7D_SAI2_ROOT_SRC>,
	// 		  <&clks IMX7D_SAI2_ROOT_CLK>;
	// assigned-clock-parents = <&clks IMX7D_PLL_AUDIO_POST_DIV>;
	// assigned-clock-rates = <0>, <36864000>;
	// status = "disabled";
};

&sdma {
	status = "okay";
};

&pwm2 {
	pinctrl-names = "default";
	pinctrl-0 = <&pinctrl_pwm2>;
	status = "okay";
};

&iomuxc_lpsr {
	pinctrl-names = "default";
	pinctrl-0 = <&pinctrl_hog_2 &pinctrl_usbotg2_pwr_2>;

	// Note there are differences in the pin names between v4.9 and v5.4 (don't think it's a problem?)
	imx7d-sdb {
		pinctrl_hog_2: hoggrp-2 {
			fsl,pins = <
				MX7D_PAD_LPSR_GPIO1_IO05__GPIO1_IO5		0x14
			>;
		};

		// Control Module LEDs I2C SDA pin
		// pinctrl_i2c_gpio: i2c-gpiogrp {
		// 		fsl,pins = <
		// 			MX7D_PAD_LPSR_GPIO1_IO02__GPIO1_IO2 0x4000007f  /* SDA */
		// 			//MX7D_PAD_GPIO1_IO02__GPIO1_IO2 0x4000007f  /* SDA */
		// 			//MX7D_PAD_SAI1_RX_BCLK__GPIO6_IO17 0x4000007f  /* SCL */
		// 		>;
		// };

		pinctrl_pwm2: pwm2grp {
			fsl,pins = <
				MX7D_PAD_LPSR_GPIO1_IO02__PWM2_OUT		0x30
			>;
		};

		pinctrl_usbotg2_pwr_2: usbotg2-2 {
			fsl,pins = <
				MX7D_PAD_LPSR_GPIO1_IO07__GPIO1_IO7		0x14
			>;
		};

		pinctrl_wdog: wdoggrp {
			fsl,pins = <
				MX7D_PAD_LPSR_GPIO1_IO00__WDOG1_WDOG_B		0x74
			>;
		};

		pinctrl_sai1_mclk: sai1grp_mclk {
			fsl,pins = <
				MX7D_PAD_LPSR_GPIO1_IO01__SAI1_MCLK		0x1f
			>;
		};

		// Note - the following is new in v5.4
		pinctrl_sai1_mclk_sleep: sai1grp_mclk_sleep {
			fsl,pins = <
				MX7D_PAD_LPSR_GPIO1_IO01__GPIO1_IO1		0x10
			>;
		};

		pinctrl_wlan: wlangrp {
			fsl,pins = <
				MX7D_PAD_LPSR_GPIO1_IO04__GPIO1_IO4		0x09 /* WL_REG_ON */
				MX7D_PAD_LPSR_GPIO1_IO03__OSC32K_32K_OUT	0xb0 /* WIFI Slow clock */
			>;
		};

		pinctrl_wlan_sleep: wlangrp_sleep {
			fsl,pins = <
				MX7D_PAD_LPSR_GPIO1_IO04__GPIO1_IO4		0x10 /* WL_REG_ON */
				MX7D_PAD_LPSR_GPIO1_IO03__OSC32K_32K_OUT	0x10 /* WIFI Slow clock */
			>;
		};
	};
};

// Note - some differences between v4.9 and v5.4
&uart1 {
	pinctrl-names = "default", "sleep";
	pinctrl-0 = <&pinctrl_uart1>;
	pinctrl-1 = <&pinctrl_uart1_sleep>;
	assigned-clocks = <&clks IMX7D_UART1_ROOT_SRC>;
	assigned-clock-parents = <&clks IMX7D_OSC_24M_CLK>;
	status = "okay";
};

&uart2 {
	pinctrl-names = "default";
	pinctrl-0 = <&pinctrl_uart2>;
	assigned-clocks = <&clks IMX7D_UART2_ROOT_SRC>;
	assigned-clock-parents = <&clks IMX7D_OSC_24M_CLK>;
	uart-has-rtscts;
	status = "okay";
};

&uart3 {
	pinctrl-names = "default";
	pinctrl-0 = <&pinctrl_uart3>;
	assigned-clocks = <&clks IMX7D_UART3_ROOT_SRC>;
	assigned-clock-parents = <&clks IMX7D_PLL_SYS_MAIN_240M_CLK>;
	uart-has-rtscts;
	status = "okay";
};

&uart5 {
	pinctrl-names = "default";
	pinctrl-0 = <&pinctrl_uart5>;
	assigned-clocks = <&clks IMX7D_UART5_ROOT_SRC>;
	assigned-clock-parents = <&clks IMX7D_OSC_24M_CLK>;
	status = "okay";
	dma-names = "","tx";
};

&uart6 {
	pinctrl-names = "default";
	pinctrl-0 = <&pinctrl_uart6>;
	assigned-clocks = <&clks IMX7D_UART6_ROOT_SRC>;
	assigned-clock-parents = <&clks IMX7D_OSC_24M_CLK>;
	status = "okay";
};

&uart7 {
	pinctrl-names = "default";
	pinctrl-0 = <&pinctrl_uart7>;
	assigned-clocks = <&clks IMX7D_UART7_ROOT_SRC>;
	assigned-clock-parents = <&clks IMX7D_OSC_24M_CLK>;
	status = "okay";
};

&usbh {
	status = "okay";
	vbus-supply = <&reg_hsic_hub_pwr_on>;
};

&usbotg1 {
	vbus-supply = <&reg_usb_otg1_vbus>;
	//dr_mode = "host";
	dr_mode = "peripheral";
	status = "okay";
};

&usbotg2 {
	vbus-supply = <&reg_usb_otg2_vbus>;
	dr_mode = "host";
	status = "okay";
};

&usdhc1 {
	pinctrl-names = "default", "state_100mhz", "state_200mhz";
	pinctrl-0 = <&pinctrl_usdhc1>, <&pinctrl_usdhc1_gpio>;
	pinctrl-1 = <&pinctrl_usdhc1_100mhz>, <&pinctrl_usdhc1_gpio>;
	pinctrl-2 = <&pinctrl_usdhc1_200mhz>, <&pinctrl_usdhc1_gpio>;
	cd-gpios = <&gpio5 0 GPIO_ACTIVE_LOW>;
	no-1-8-v;
	enable-sdio-wakeup;
	keep-power-in-suspend;
	status = "okay";
};

// Note - some differences between v4.9 and v5.4
&usdhc2 {
	#address-cells = <1>;
	#size-cells = <0>;
	pinctrl-names = "default", "state_100mhz", "state_200mhz","sleep";
	pinctrl-0 = <&pinctrl_usdhc2>, <&pinctrl_wlan>;
	pinctrl-1 = <&pinctrl_usdhc2_100mhz>, <&pinctrl_wlan>;
	pinctrl-2 = <&pinctrl_usdhc2_200mhz>, <&pinctrl_wlan>;
	pinctrl-3 = <&pinctrl_usdhc2_sleep>, <&pinctrl_wlan_sleep>;
	keep-power-in-suspend;
	non-removable;
	pm-ignore-notify;
	vmmc-supply = <&wlreg_on>;
	status = "okay";

	brcmf: bcrmf@1 {
		reg = <1>;
		compatible = "brcm,bcm4329-fmac";
	};
};

&usdhc3 {
	status = "disabled";
};

&wdog1 {
	pinctrl-names = "default";
	pinctrl-0 = <&pinctrl_wdog>;
	fsl,ext-reset-output;
};

&snvs_rtc {
	status = "disabled";
};

// Commented out following lines from V5.4
// &snvs_pwrkey {
// 	status = "okay";
// };

// Commented out following lines from V5.4
// &snvs_poweroff {
// 	status = "okay";
// };

